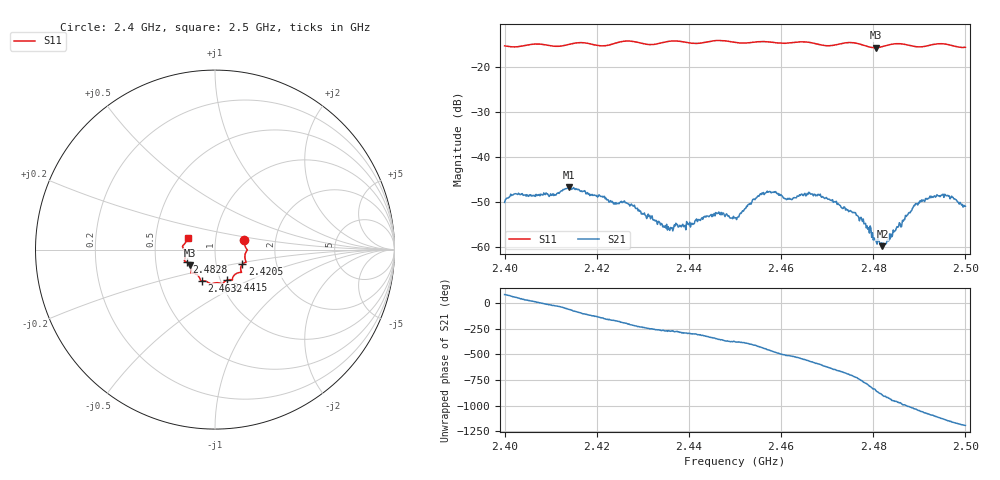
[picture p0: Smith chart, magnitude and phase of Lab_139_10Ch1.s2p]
# Hz S RI R 50
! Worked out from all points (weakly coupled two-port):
!   601 points, 2.4 GHz to 2.5 GHz, reference 50 ohm
!   highest |S21| = -46.61 dB at 2.414 GHz (marker M1); lowest = -59.8 dB at 2.482 GHz (marker M2)
!   lowest |S11| = -15.7 dB at 2.4805 GHz (marker M3), VSWR 1.39, Z = 37.3 - j6.68 ohm
!   |S11| at or under -10 dB: start of sweep to end of sweep
!   S12 and S22 are empty: the file has one direction only
!   S11 on the Smith chart (normalised r, x): 2.4 GHz: 1.38, +0.15; 2.4205 GHz: 1.34, -0.23; 2.4415 GHz: 1.07, -0.38; 2.4632 GHz: 0.82, -0.29; 2.4828 GHz: 0.72, -0.10; 2.5 GHz: 0.73, +0.10
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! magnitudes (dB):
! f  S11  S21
! 2.4 GHz  -15.3  -50.1
! 2.414 GHz  -15.0  -46.6
! 2.4167 GHz  -14.6  -47.5
! 2.4205 GHz  -15.3  -48.4
! 2.4278 GHz  -14.3  -50.8
! 2.4333 GHz  -14.8  -54.3
! 2.4362 GHz  -14.2  -55.8
! 2.4415 GHz  -14.8  -54.0
! 2.446 GHz  -14.1  -52.5
! 2.45 GHz  -14.5  -53.5
! 2.4557 GHz  -14.4  -48.3
! 2.4632 GHz  -14.5  -49.0
! 2.4667 GHz  -14.6  -48.2
! 2.4762 GHz  -14.7  -52.4
! 2.4805 GHz  -15.7  -58.2
! 2.482 GHz  -15.5  -59.8
! 2.4828 GHz  -15.2  -59.2
! 2.4833 GHz  -15.1  -58.6
! 2.489 GHz  -15.4  -50.8
! 2.4918 GHz  -15.3  -49.2
! 2.496 GHz  -15.0  -48.6
! 2.5 GHz  -15.6  -50.9
